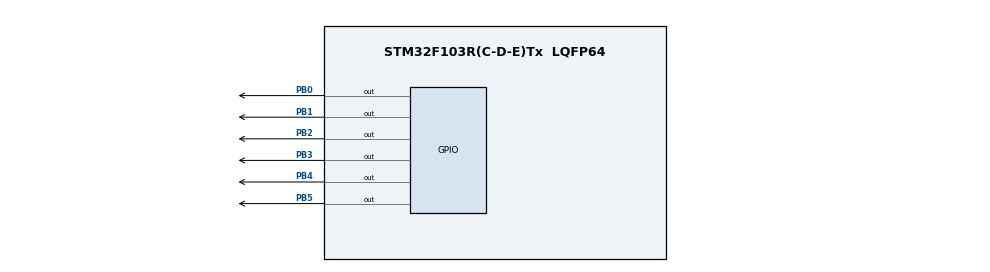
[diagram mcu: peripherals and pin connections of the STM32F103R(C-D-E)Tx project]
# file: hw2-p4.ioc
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Mcu.Family=STM32F1
Mcu.Name=STM32F103R(C-D-E)Tx
Mcu.Package=LQFP64
NVIC.PriorityGroup=NVIC_PRIORITYGROUP_4
PA13.Mode=Serial_Wire
PA13.Signal=SYS_JTMS-SWDIO
PA14.Mode=Serial_Wire
PA14.Signal=SYS_JTCK-SWCLK
PB0.Signal=GPIO_Output
PB1.Signal=GPIO_Output
PB2.Signal=GPIO_Output
PB3.Signal=GPIO_Output
PB4.Signal=GPIO_Output
PB5.Signal=GPIO_Output
PD0-OSC_IN.Mode=HSE-External-Oscillator
PD0-OSC_IN.Signal=RCC_OSC_IN
PD1-OSC_OUT.Mode=HSE-External-Oscillator
PD1-OSC_OUT.Signal=RCC_OSC_OUT
ProjectManager.HeapSize=0x200
ProjectManager.StackSize=0x400
ProjectManager.TargetToolchain=MDK-ARM V5.32
RCC.APB1Freq_Value=8000000
RCC.APB2Freq_Value=8000000
board=custom

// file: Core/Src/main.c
/* USER CODE BEGIN Header */
/**
  ******************************************************************************
  * @file           : main.c
  * @brief          : Main program body
  ******************************************************************************
  * @attention
  *
  * Copyright (c) 2026 STMicroelectronics.
  * All rights reserved.
  *
  * This software is licensed under terms that can be found in the LICENSE file
  * in the root directory of this software component.
  * If no LICENSE file comes with this software, it is provided AS-IS.
  *
  ******************************************************************************
  */
/* USER CODE END Header */
#include "main.h"

/* USER CODE BEGIN Includes */
#include "lcd.h"
#include <string.h>
/* USER CODE END Includes */

/* USER CODE BEGIN PD */
#define RS_PIN GPIO_PIN_0
#define RS_PORT GPIOB

#define ENB_PIN GPIO_PIN_1
#define ENB_PORT GPIOB

#define LCD_PORTS {GPIOB,GPIOB,GPIOB,GPIOB}
#define LCD_PINS {GPIO_PIN_2,GPIO_PIN_3,GPIO_PIN_4,GPIO_PIN_5}
/* USER CODE END PD */

void SystemClock_Config(void);
static void MX_GPIO_Init(void);

int main(void)
{

  /* MCU Configuration--------------------------------------------------------*/

  /* Reset of all peripherals, Initializes the Flash interface and the Systick. */
  HAL_Init();

  /* Configure the system clock */
  SystemClock_Config();

  /* Initialize all configured peripherals */
  MX_GPIO_Init();
  /* USER CODE BEGIN 2 */
	Lcd_PortType Ports[] = LCD_PORTS;
	Lcd_PinType Pins[]= LCD_PINS;

	Lcd_HandleTypeDef lcd;
	lcd = Lcd_create(Ports, Pins, RS_PORT, RS_PIN, ENB_PORT, ENB_PIN, LCD_4_BIT_MODE);
	float PI=3.14159f;
	float sum = 0.0f;
	char str[9]; // "xx.xxxxx" + '\0'
  /* USER CODE END 2 */

  /* Infinite loop */
  while (1)
  {

    /* USER CODE BEGIN 3 */
		float sum = 0.0f;   // reset each full cycle

    for (int i = 0; i < 20; i++)
    {
        sum += PI;
        snprintf(str, sizeof(str), "%8.5f", sum);        // fixed 8-character field
        Lcd_cursor(&lcd, 0, (16 - 8) / 2);              // centred
        Lcd_string(&lcd, str);
        HAL_Delay(1000);
    }
  }
  /* USER CODE END 3 */
}

void SystemClock_Config(void)
{
  RCC_OscInitTypeDef RCC_OscInitStruct = {0};
  RCC_ClkInitTypeDef RCC_ClkInitStruct = {0};

  /** Initializes the RCC Oscillators according to the specified parameters
  * in the RCC_OscInitTypeDef structure.
  */
  RCC_OscInitStruct.OscillatorType = RCC_OSCILLATORTYPE_HSI;
  RCC_OscInitStruct.HSIState = RCC_HSI_ON;
  RCC_OscInitStruct.HSICalibrationValue = RCC_HSICALIBRATION_DEFAULT;
  RCC_OscInitStruct.PLL.PLLState = RCC_PLL_NONE;
  if (HAL_RCC_OscConfig(&RCC_OscInitStruct) != HAL_OK)
  {
    Error_Handler();
  }

  /** Initializes the CPU, AHB and APB buses clocks
  */
  RCC_ClkInitStruct.ClockType = RCC_CLOCKTYPE_HCLK|RCC_CLOCKTYPE_SYSCLK
                              |RCC_CLOCKTYPE_PCLK1|RCC_CLOCKTYPE_PCLK2;
  RCC_ClkInitStruct.SYSCLKSource = RCC_SYSCLKSOURCE_HSI;
  RCC_ClkInitStruct.AHBCLKDivider = RCC_SYSCLK_DIV1;
  RCC_ClkInitStruct.APB1CLKDivider = RCC_HCLK_DIV1;
  RCC_ClkInitStruct.APB2CLKDivider = RCC_HCLK_DIV1;

  if (HAL_RCC_ClockConfig(&RCC_ClkInitStruct, FLASH_LATENCY_0) != HAL_OK)
  {
    Error_Handler();
  }
}

static void MX_GPIO_Init(void)
{
  GPIO_InitTypeDef GPIO_InitStruct = {0};

  /* GPIO Ports Clock Enable */
  __HAL_RCC_GPIOD_CLK_ENABLE();
  __HAL_RCC_GPIOB_CLK_ENABLE();
  __HAL_RCC_GPIOA_CLK_ENABLE();

  /*Configure GPIO pin Output Level */
  HAL_GPIO_WritePin(GPIOB, GPIO_PIN_0|GPIO_PIN_1|GPIO_PIN_2|GPIO_PIN_3
                          |GPIO_PIN_4|GPIO_PIN_5, GPIO_PIN_RESET);

  /*Configure GPIO pins : PB0 PB1 PB2 PB3
                           PB4 PB5 */
  GPIO_InitStruct.Pin = GPIO_PIN_0|GPIO_PIN_1|GPIO_PIN_2|GPIO_PIN_3
                          |GPIO_PIN_4|GPIO_PIN_5;
  GPIO_InitStruct.Mode = GPIO_MODE_OUTPUT_PP;
  GPIO_InitStruct.Pull = GPIO_NOPULL;
  GPIO_InitStruct.Speed = GPIO_SPEED_FREQ_LOW;
  HAL_GPIO_Init(GPIOB, &GPIO_InitStruct);

}

void Error_Handler(void)
{
  __disable_irq();
  while (1)
  {
  }
}
